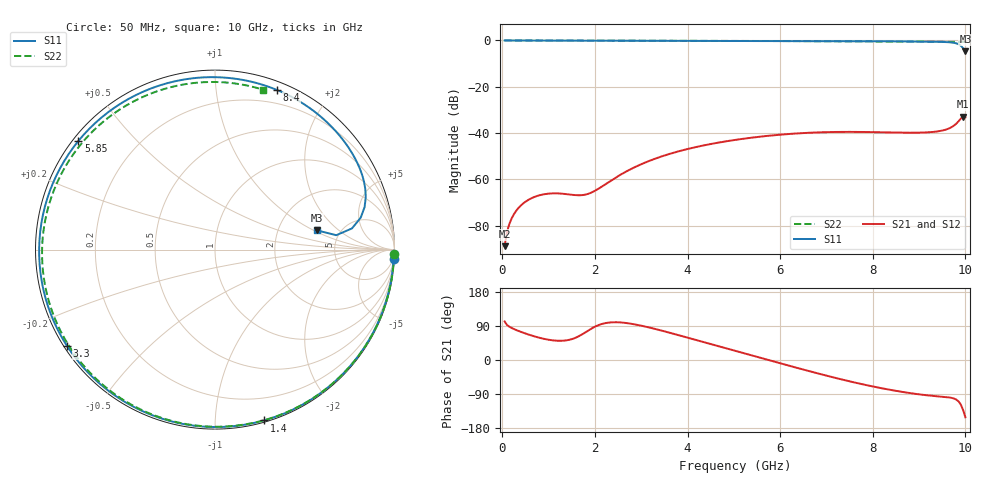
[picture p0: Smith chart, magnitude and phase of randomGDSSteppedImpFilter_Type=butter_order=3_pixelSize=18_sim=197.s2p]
! freq	dB(S11)	phase(S11)	dB(S12)	phase(S12)
!  dB(S21)	phase(S21)	dB(S22)	phase(S22)
!S-par simulation data
#  GHz  S  DB  R 50
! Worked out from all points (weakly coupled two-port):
!   200 points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, 50 MHz to 10 GHz, reference 50 ohm
!   highest |S21| = -32.91 dB at 9.95 GHz (marker M1); lowest = -88.8 dB at 50 MHz (marker M2)
!   lowest |S11| = -4.8 dB at 10 GHz (marker M3), VSWR 3.72, Z = 167 + j53.9 ohm
!   |S11| at or under -10 dB: nowhere
!   |S22| runs from -0.6 to 0.0 dB; largest |S21 - S12| = 0
!   S11 on the Smith chart (normalised r, x): 50 MHz: 2, -39; 1.4 GHz: 0.01, -1.33; 3.3 GHz: 0.01, -0.30; 5.85 GHz: 0.02, +0.35; 8.4 GHz: 0.07, +1.46; 10 GHz: 3.35, +1.08
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0.05  -0.03 -2.9  -88.85 101.8  -88.85 101.8  -0.02 -1.5
0.15  -0.03 -8.5  -79.37 88.0  -79.37 88.0  -0.02 -4.5
0.35  -0.04 -19.7  -72.34 76.6  -72.34 76.6  -0.02 -10.5
0.6  -0.05 -33.4  -68.45 65.8  -68.45 65.8  -0.03 -18.0
0.95  -0.06 -51.9  -66.28 54.6  -66.28 54.6  -0.04 -28.4
1.4  -0.08 -74.0  -66.41 52.2  -66.41 52.2  -0.05 -41.5
1.75  -0.10 -89.8  -66.74 69.6  -66.74 69.6  -0.07 -51.6
2.55  -0.12 -121.5  -58.02 99.2  -58.02 99.2  -0.09 -73.8
3.3  -0.14 -146.8  -51.07 82.0  -51.07 82.0  -0.12 -93.9
3.4  -0.14 -149.9  -50.37 78.9  -50.37 78.9  -0.12 -96.5
4.2  -0.17 -173.6  -45.97 52.2  -45.97 52.2  -0.16 -117.1
5.05  -0.20 163.0  -42.90 23.3  -42.90 23.3  -0.20 -138.5
5.85  -0.24 141.5  -40.98 -3.7  -40.98 -3.7  -0.26 -158.7
6.7  -0.29 118.4  -39.81 -31.8  -39.81 -31.8  -0.33 179.2
7.55  -0.34 94.3  -39.50 -57.8  -39.50 -57.8  -0.40 155.5
8.35  -0.40 70.3  -39.73 -78.2  -39.73 -78.2  -0.48 131.3
8.4  -0.41 68.8  -39.75 -79.3  -39.75 -79.3  -0.49 129.7
9.05  -0.50 47.8  -39.80 -91.4  -39.80 -91.4  -0.55 108.0
9.6  -0.73 27.0  -38.37 -98.1  -38.37 -98.1  -0.60 88.3
9.8  -1.24 15.9  -36.00 -104.2  -36.00 -104.2  -0.61 81.0
9.95  -3.34 6.8  -32.91 -131.8  -32.91 -131.8  -0.62 75.3
10  -4.78 10.7  -33.22 -151.1  -33.22 -151.1  -0.63 73.5
